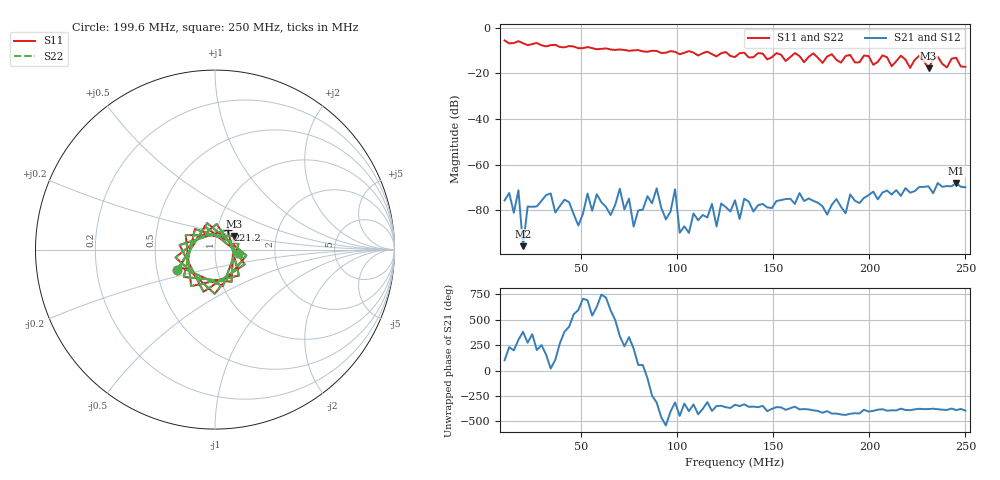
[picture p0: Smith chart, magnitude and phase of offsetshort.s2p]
# Hz S RI R 50
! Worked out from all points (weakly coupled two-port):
!   101 points, 10 MHz to 250 MHz, reference 50 ohm
!   highest |S21| = -67.98 dB at 245.2 MHz (marker M1); lowest = -95.7 dB at 19.6 MHz (marker M2)
!   lowest |S11| = -17.8 dB at 230.8 MHz (marker M3), VSWR 1.30, Z = 60.9 + j9.39 ohm
!   |S11| at or under -10 dB: 73.81 MHz to 76.88 MHz (3.071 MHz wide, 4.08 % of centre); 80.36 MHz to end of sweep
!   |S22| runs from -17.8 to -5.6 dB; largest |S21 - S12| = 0
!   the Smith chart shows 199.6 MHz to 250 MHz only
!   S11 on the Smith chart (normalised r, x): 199.6 MHz: 0.64, -0.15; 221.2 MHz: 1.12, +0.25; 250 MHz: 1.31, -0.06
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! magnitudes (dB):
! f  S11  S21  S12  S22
! 10 MHz  -5.6  -75.7  -75.7  -5.6
! 14.8 MHz  -6.7  -81.1  -81.1  -6.7
! 17.2 MHz  -5.9  -71.2  -71.2  -5.9
! 19.6 MHz  -6.8  -95.7  -95.7  -6.8
! 34 MHz  -7.7  -72.6  -72.6  -7.7
! 50.8 MHz  -9.0  -81.5  -81.5  -9.0
! 53.2 MHz  -8.5  -72.6  -72.6  -8.5
! 65.2 MHz  -9.6  -82.0  -82.0  -9.6
! 70 MHz  -9.6  -70.5  -70.5  -9.6
! 72.4 MHz  -9.8  -79.6  -79.6  -9.8
! 89.2 MHz  -10.2  -70.3  -70.3  -10.2
! 91.6 MHz  -11.1  -78.9  -78.9  -11.1
! 98.8 MHz  -10.6  -70.8  -70.8  -10.6
! 101.2 MHz  -11.7  -89.8  -89.8  -11.7
! 130 MHz  -12.9  -75.6  -75.6  -12.9
! 170.8 MHz  -11.3  -75.8  -75.8  -11.3
! 199.6 MHz  -12.5  -73.3  -73.3  -12.5
! 211.6 MHz  -16.9  -73.1  -73.1  -16.9
! 221.2 MHz  -17.6  -72.2  -72.2  -17.6
! 230.8 MHz  -17.8  -69.5  -69.5  -17.8
! 245.2 MHz  -13.2  -68.0  -68.0  -13.2
! 250 MHz  -17.2  -69.9  -69.9  -17.2
